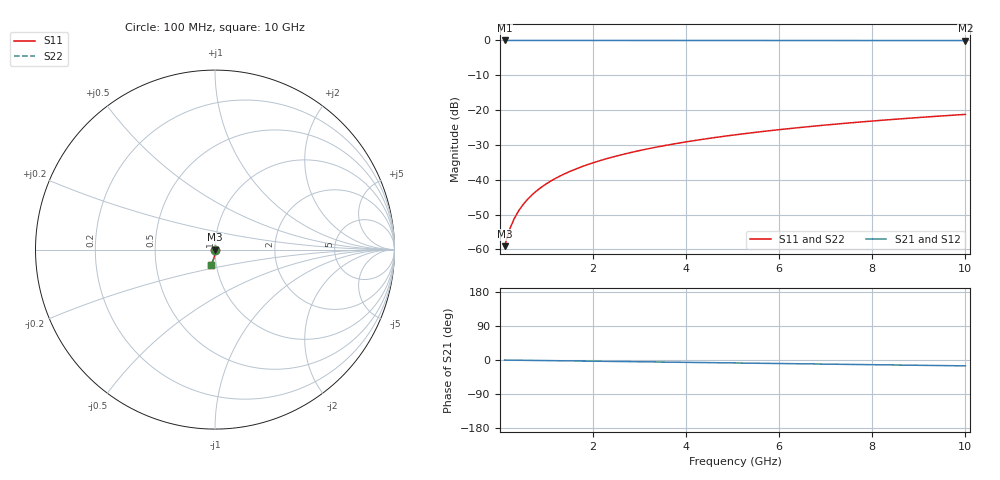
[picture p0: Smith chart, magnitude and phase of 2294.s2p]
# Hz S RI R 50.00
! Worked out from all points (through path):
!   100 points, 100 MHz to 10 GHz, reference 50 ohm
!   highest |S21| = -0.01 dB at 100 MHz (marker M1); lowest = 0.0 dB at 10 GHz (marker M2)
!   group delay of S21, straight-line fit = 4.3 ps
!   lowest |S11| = -59.1 dB at 100 MHz (marker M3), VSWR 1.00, Z = 50.1 - j0.0877 ohm
!   |S11| at or under -10 dB: start of sweep to end of sweep
!   |S22| runs from -59.1 to -21.2 dB; largest |S21 - S12| = 0
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1e8  0.000685 -0.000876  0.9993 -0.00269  0.9993 -0.00269  0.000685 -0.000876
2e8  0.000681 -0.00175  0.9993 -0.00539  0.9993 -0.00539  0.000681 -0.00175
3e8  0.000671 -0.00263  0.9993 -0.00808  0.9993 -0.00808  0.000671 -0.00263
4e8  0.000655 -0.0035  0.9992 -0.0108  0.9992 -0.0108  0.000655 -0.0035
5e8  0.000635 -0.00438  0.9992 -0.0135  0.9992 -0.0135  0.000635 -0.00438
6e8  0.000609 -0.00525  0.9991 -0.0162  0.9991 -0.0162  0.000609 -0.00525
7e8  0.000579 -0.00613  0.9991 -0.0189  0.9991 -0.0189  0.000579 -0.00613
8e8  0.000543 -0.007  0.999 -0.0216  0.999 -0.0216  0.000543 -0.007
9e8  0.000503 -0.00788  0.9989 -0.0243  0.9989 -0.0243  0.000503 -0.00788
1.1e9  0.000409 -0.00963  0.9988 -0.0296  0.9988 -0.0296  0.000409 -0.00963
1.4e9  0.000231 -0.0123  0.9985 -0.0377  0.9985 -0.0377  0.000231 -0.0123
1.8e9  -7.3e-05 -0.0157  0.9979 -0.0485  0.9979 -0.0485  -7.3e-05 -0.0157
2.1e9  -0.000351 -0.0184  0.9975 -0.0566  0.9975 -0.0566  -0.000351 -0.0184
2.5e9  -0.000787 -0.0218  0.9967 -0.0673  0.9967 -0.0673  -0.000787 -0.0218
2.9e9  -0.0013 -0.0253  0.9958 -0.0781  0.9958 -0.0781  -0.0013 -0.0253
3.4e9  -0.00204 -0.0296  0.9946 -0.0915  0.9946 -0.0915  -0.00204 -0.0296
4.2e9  -0.00348 -0.0365  0.9921 -0.113  0.9921 -0.113  -0.00348 -0.0365
5.1e9  -0.00545 -0.0442  0.9887 -0.137  0.9887 -0.137  -0.00545 -0.0442
5.9e9  -0.00752 -0.0509  0.9852 -0.1583  0.9852 -0.1583  -0.00752 -0.0509
6.7e9  -0.00987 -0.0576  0.9811 -0.1795  0.9811 -0.1795  -0.00987 -0.0576
8.4e9  -0.0158 -0.0713  0.9708 -0.2243  0.9708 -0.2243  -0.0158 -0.0713
1e10  -0.0226 -0.0837  0.9591 -0.2658  0.9591 -0.2658  -0.0226 -0.0837
